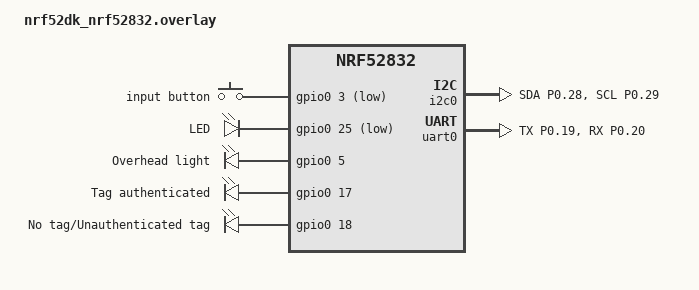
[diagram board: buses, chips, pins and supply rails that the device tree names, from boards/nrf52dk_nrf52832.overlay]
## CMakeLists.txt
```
# SPDX-License-Identifier: Apache-2.0

cmake_minimum_required(VERSION 3.20.0)
find_package(Zephyr REQUIRED HINTS $ENV{ZEPHYR_BASE})
project(ble_access_control)

FILE(GLOB app_sources 
  src/*.c
)

target_sources(app PRIVATE
  ${app_sources}
)
```

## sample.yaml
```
sample:
  name: BLE authentication System
tests:
```

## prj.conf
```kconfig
# Bluetooth
CONFIG_BT=y
CONFIG_BT_CENTRAL=y
CONFIG_BT_GATT_CLIENT=y

# RTOS events
CONFIG_EVENTS=y

#I2C
CONFIG_I2C=y

# power management
CONFIG_PM=y
CONFIG_PM_DEVICE=y

# encryption
CONFIG_MBEDTLS=y
CONFIG_ENTROPY_DEVICE_RANDOM_GENERATOR=y

# NVS
CONFIG_FLASH=y
CONFIG_FLASH_PAGE_LAYOUT=y
CONFIG_MPU_ALLOW_FLASH_WRITE=y
CONFIG_NVS=y

CONFIG_SERIAL=y
CONFIG_UART_INTERRUPT_DRIVEN=y
CONFIG_JSON_LIBRARY=y

#debug logs
CONFIG_LOG=y
CONFIG_LOG_DEFAULT_LEVEL=4
CONFIG_LOG_PRINTK=y
CONFIG_LOG_BACKEND_UART=n
```

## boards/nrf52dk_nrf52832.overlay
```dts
&pinctrl {
    i2c0_custom: i2c0_custom{
        group1{
            psels = <NRF_PSEL(TWIM_SDA, 0, 28)>,
                <NRF_PSEL(TWIM_SCL, 0, 29)>;
        };
    };

    i2c0_custom_low_power: i2c0_custom_low_power{
        group1{
            psels = <NRF_PSEL(TWIM_SDA, 0, 28)>,
                <NRF_PSEL(TWIM_SCL, 0, 29)>;
            low-power-enable;
        };
    };

    uart0_custom: uart0_custom{
        group1{
            psels = < NRF_PSEL(UART_TX, 0, 19) >,
                <NRF_PSEL(UART_RX, 0, 20)>;
        };
    };

    uart0_custom_low_power: uart0_custom_low_power{
        group1{
            psels = < NRF_PSEL(UART_TX, 0, 19) >,
                <NRF_PSEL(UART_RX, 0, 20)>;
            low-power-enable;
        };
    };
};


&i2c0 {
    status="okay";
    pinctrl-0 = < &i2c0_custom >;
    pinctrl-1 = < &i2c0_custom_low_power >;
    // TODO add MCP3021 driver
};

&uart0 {
    status = "okay";
    pinctrl-0 = < &uart0_custom >;
    pinctrl-1 = < &uart0_custom_low_power >;
};

&spi2 {
    // Disable to remove pin conflict with led
    status = "disabled";
};

&uicr {
    
};


/{
    buttons{
        status = "okay";
        compatible = "gpio-keys";

        button_input:button_input {
            gpios = < &gpio0 3 (GPIO_ACTIVE_LOW | GPIO_OPEN_DRAIN)>;
            label = "input button";
        };
    };

    outputs{
        status = "okay";
        compatible = "gpio-leds";

        led:led{
            gpios = < &gpio0 25 GPIO_ACTIVE_LOW >;
            label = "LED";
        };
        out1:out1{
            gpios = < &gpio0 5 GPIO_ACTIVE_HIGH>;
            label = "Overhead light";
        };
        out2:out2{
            gpios = < &gpio0 17 GPIO_ACTIVE_HIGH >;
            label = "Tag authenticated";
        };
        out3:out3{
            gpios = < &gpio0 18 GPIO_ACTIVE_HIGH >;
            label = "No tag/Unauthenticated tag";
        };
    };
};
```

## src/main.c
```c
#include <zephyr/kernel.h>
#include <zephyr/logging/log.h>

#include "main.h"

LOG_MODULE_REGISTER(MAIN, 3);

K_EVENT_DEFINE(main_evts);

extern struct k_msgq ble_msgq;
extern struct k_msgq output_msgq;

uint32_t timeout_for_scans_seconds = 15;

static void update_authentication_state(int state)
{
	struct ble_msg msg = {
		.type = state
	};

	k_msgq_put(&ble_msgq, &msg, K_NO_WAIT);
}

static void toggle_output(int type, int state)
{
	struct output_msg out_msg = {
		.type = type,
		.state = state
	};

	k_msgq_put(&output_msgq, &out_msg, K_NO_WAIT);
}

static void wait_authentication()
{
	uint32_t evts = 0;

	evts = k_event_wait(&main_evts, MAIN_EVT_BLE_DEVICE_CONNECTED, true, K_SECONDS(timeout_for_scans_seconds));
	if(!evts){
		LOG_WRN("Connect device timeout");
		toggle_output(OUTPUT_MSG_TYPE_TOGGLE_LED, LED_STATE_OFF);
		toggle_output(OUTPUT_MSG_TOGGLE_TAG_AUTHENTICATION_FAIL, LIGHT_STATE_ON);
		update_authentication_state(BLE_MSG_TYPE_STOP_AUTHENTICATION);
	}
	else{
		update_authentication_state(BLE_MSG_TYPE_START_AUTHENTICATION);
		evts = k_event_wait(&main_evts, MAIN_EVT_BLE_DEVICE_AUTHENTICATED | MAIN_EVT_BLE_DEVICE_AUTHENTICATION_FAIL, true, K_SECONDS(15));
		if(!evts){
			LOG_WRN("Authentication timeout");
			toggle_output(OUTPUT_MSG_TOGGLE_TAG_AUTHENTICATION_FAIL, LIGHT_STATE_ON);
		}
		else if(evts & MAIN_EVT_BLE_DEVICE_AUTHENTICATED){
			toggle_output(OUTPUT_MSG_TYPE_TOGGLE_TAG_AUTHENTICATED, LIGHT_STATE_ON);
		}
		else if(evts & MAIN_EVT_BLE_DEVICE_AUTHENTICATION_FAIL){
			toggle_output(OUTPUT_MSG_TOGGLE_TAG_AUTHENTICATION_FAIL, LIGHT_STATE_ON);
		}

		update_authentication_state(BLE_MSG_TYPE_STOP_AUTHENTICATION);
	}
	
	evts = k_event_wait(&main_evts, MAIN_EVT_BTN_RELEASED, false, K_SECONDS(timeout_for_scans_seconds));
	// all lights off
	toggle_output(OUTPUT_MSG_TYPE_TOGGLE_LED, LED_STATE_OFF);
	toggle_output(OUTPUT_MSG_TYPE_TOGGLE_OVERHEAD_LIGHT, LIGHT_STATE_OFF);
	toggle_output(OUTPUT_MSG_TYPE_TOGGLE_TAG_AUTHENTICATED, LIGHT_STATE_OFF);
	toggle_output(OUTPUT_MSG_TOGGLE_TAG_AUTHENTICATION_FAIL, LIGHT_STATE_OFF);

	update_authentication_state(BLE_MSG_START_SCAN);
}

void main()
{
	LOG_DBG("Start main thread");

	if(init_nvs()){
		return;
	}

	read_uicr(TS_UICR_ADDRESS, &timeout_for_scans_seconds);
	if(timeout_for_scans_seconds >= 0xffff){
		LOG_WRN("Scan timeout value not valid, defaulting to 15 seconds");
		timeout_for_scans_seconds = 15;
	}

	if(input_init()){
		return;
	}

	uint32_t evts = 0;
	
	while(1){
		evts = k_event_wait(&main_evts, MAIN_EVT_BLE_DEVICE_FOUND | MAIN_EVT_BTN_PRESSED, true, K_SECONDS(DEFAULT_OVERHEAD_LIGHT_TIMEOUT_NO_SCAN));
		if(!evts){
			LOG_DBG("no scan data");
			toggle_output(OUTPUT_MSG_TYPE_TOGGLE_OVERHEAD_LIGHT, LIGHT_STATE_OFF);
		}
		else if(evts & MAIN_EVT_BLE_DEVICE_FOUND){
			LOG_DBG("Device found");
			toggle_output(OUTPUT_MSG_TYPE_TOGGLE_OVERHEAD_LIGHT, LIGHT_STATE_ON);
		}
		else if(evts & MAIN_EVT_BTN_PRESSED){
			LOG_DBG("BTN pressed, start authentication");

			toggle_output(OUTPUT_MSG_TYPE_TOGGLE_LED, LED_STATE_ON);
			toggle_output(OUTPUT_MSG_TYPE_TOGGLE_OVERHEAD_LIGHT, LIGHT_STATE_OFF);
			update_authentication_state(BLE_MSG_TYPE_ENABLE_AUTHENTICATION);
			wait_authentication();
		}
	}
}
```

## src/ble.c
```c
/* main.c - Application main entry point */

/*
 * Copyright (c) 2015-2016 Intel Corporation
 *
 * SPDX-License-Identifier: Apache-2.0
 */

#include "ble.h"

#include <zephyr/bluetooth/bluetooth.h>
#include <zephyr/bluetooth/conn.h>
#include <zephyr/bluetooth/uuid.h>
#include <zephyr/bluetooth/gatt.h>

LOG_MODULE_REGISTER(BLE);

#define AUTH_EVT_PRIMARY_DISCOVERED			0x01
#define AUTH_EVT_WRITE_CHRC_DISCOVERED		0x02
#define AUTH_EVT_READ_DISCOVERED			0x04
#define AUTH_EVT_READ_CCC_DISCOVERED		0x08
#define AUTH_EVT_NOTIFICATIONS_ENABLED		0x10
#define AUTH_EVT_ATTR_DISCOVER_FAIL			0x20
#define	AUTH_EVT_DATA_WRITTEN				0x40
#define AUTH_EVT_RESP_RECEIVED				0x80

#define MAIN_SERVICE_UUID 					BT_UUID_DECLARE_16(0xfea0)
#define WRITE_CHRC_UUID						BT_UUID_DECLARE_16(0xfea1)
#define READ_CHRC_UUID						BT_UUID_DECLARE_16(0xfea2)

// Default addresses if address if none saved to device
bt_addr_le_t default_address_buf[] = {
	{
	.type = BT_ADDR_LE_RANDOM,
	.a.val={0x29, 0x74, 0x06, 0x02, 0x34, 0xdd}
	},
	{
	.type = BT_ADDR_LE_RANDOM,
	.a.val={0x8a, 0x72, 0x06, 0x02, 0x34, 0xdd}
	},
	{
	.type = BT_ADDR_LE_RANDOM,
	.a.val={0x85, 0x6e, 0x06, 0x02, 0x34, 0xdd}
	},	
};

// address buffer structure
struct addr_filter_buf{
	bt_addr_le_t buf[DEFAULT_ADDR_FILTER_LEN];
	int head;
	int size;
};

struct remote_device_attr_info{
	uint16_t write_chrc_value_handle;
	uint16_t read_chrc_attr_handle;
	uint16_t read_ccc_handle;
	uint16_t read_chrc_value_handle;
};

static void start_scan();
static void stop_scan();

static int discover_attributes();
static uint8_t attribute_discovered(struct bt_conn *conn, const struct bt_gatt_attr *attr, struct bt_gatt_discover_params *params);
static uint8_t read_chrc_cb(struct bt_conn *conn, uint8_t err, struct bt_gatt_read_params *params, const void *data, uint16_t length);
static void write_chrc_cb(struct bt_conn *conn, uint8_t err, struct bt_gatt_write_params *params);
static uint8_t notify_cb(struct bt_conn *conn, struct bt_gatt_subscribe_params *params, const void *data, uint16_t length);
static void subscribe_cb(struct bt_conn *conn, uint8_t err, struct bt_gatt_subscribe_params *params);

K_MSGQ_DEFINE(ble_msgq, sizeof(struct ble_msg), 5, 4);
K_EVENT_DEFINE(auth_evts);

extern struct k_event main_evts;
extern uint8_t device_password[8];

struct bt_conn *default_conn;
bt_addr_le_t *last_scanned_address = NULL;
struct addr_filter_buf addr_filter;
struct remote_device_attr_info attr_info = {0, 0, 0}; 
bool authentication_enabled = false;
// Transmit buffer
uint8_t tx_buf[6];
// Receive buffer
uint8_t rx_buf[22];

static struct bt_gatt_discover_params d_params = {
	.start_handle = BT_ATT_FIRST_ATTRIBUTE_HANDLE,
	.end_handle = BT_ATT_LAST_ATTRIBUTE_HANDLE,
	.func = attribute_discovered,
	.type = BT_GATT_DISCOVER_PRIMARY,
};

static struct bt_gatt_read_params read_params = {
	.func = read_chrc_cb,
};

static struct bt_gatt_write_params write_params = {
	.func = write_chrc_cb,
	.data = tx_buf,
	.length = sizeof(tx_buf)
};

static struct bt_gatt_subscribe_params sub_params = {
	.subscribe = subscribe_cb,
	.notify = notify_cb
};


static int address_in_filter(const bt_addr_le_t *addr)
{
	for(int i=0; i<addr_filter.size; ++i){
		if(bt_addr_le_cmp(addr, &addr_filter.buf[i]) == 0){
			return i;
		}
	}

	return -1;
}

// Scanned device found callback
static void device_found(const bt_addr_le_t *addr, int8_t rssi, uint8_t type,
			 struct net_buf_simple *ad)
{
    int res = 0;
	char addr_str[BT_ADDR_LE_STR_LEN];
	bt_addr_le_to_str(addr, addr_str, sizeof(addr_str));

    // check if address is in authorised filter
    res = address_in_filter(addr);
    if(res < 0){
        return;
    }

	if(bt_addr_le_cmp(addr, last_scanned_address) != 0){
		LOG_DBG("Device found: %s", addr_str);
	}

	last_scanned_address = &addr_filter.buf[res];

	if(authentication_enabled){
		stop_scan();

		res = bt_conn_le_create(addr, BT_CONN_LE_CREATE_CONN, BT_LE_CONN_PARAM_DEFAULT, &default_conn);
		if(res){
			LOG_ERR("Create connection fail (err %d)", res);
			start_scan();
		}
		return;
	}

	k_event_set(&main_evts, MAIN_EVT_BLE_DEVICE_FOUND);
}

static void start_scan(void)
{
	int err;
	struct bt_le_scan_param scan_params = {
		.interval = 1250,
		.timeout = 0,
		.window = 625,
		.type = BT_LE_SCAN_TYPE_PASSIVE,
	};
	err = bt_le_scan_start(&scan_params, device_found);
	if (err) {
		LOG_ERR("Scanning failed to start (err %d)\n", err);
		return;
	}

	LOG_INF("Scanning started");
}

static void stop_scan()
{
	int err = 0;
	err = bt_le_scan_stop();
	if(err){
		LOG_ERR("Scan stop fail (err %d)", err);
		return;
	}

	LOG_DBG("Scanning stopped");
}

static void connected(struct bt_conn *conn, uint8_t err)
{
	if(err){
		LOG_ERR("BLE connect fail (err %d)", err);
		return;
	}

	LOG_INF("Remote device connected");

	k_event_set(&main_evts, MAIN_EVT_BLE_DEVICE_CONNECTED);

	d_params.type = BT_GATT_DISCOVER_PRIMARY;
	d_params.uuid = MAIN_SERVICE_UUID;
	int res = bt_gatt_discover(conn, &d_params);
	if(res){
		LOG_ERR("Discover primary service fail(err %d)", res);
		k_event_set(&auth_evts, AUTH_EVT_ATTR_DISCOVER_FAIL);
	}
}

static void disconnected(struct bt_conn *conn, uint8_t reason)
{
	LOG_INF("BLE disconnected (reason %d)", reason);
	bt_conn_unref(conn);
	default_conn = NULL;
}

static uint8_t attribute_discovered(struct bt_conn *conn, const struct bt_gatt_attr *attr, struct bt_gatt_discover_params *params)
{
	if(params->type == BT_GATT_DISCOVER_PRIMARY){
		LOG_DBG("Primary service discovered");
		k_event_set(&auth_evts, AUTH_EVT_PRIMARY_DISCOVERED);
	}
	else if(params->type == BT_GATT_DISCOVER_CHARACTERISTIC){
		if(bt_uuid_cmp(params->uuid, WRITE_CHRC_UUID) == 0){
			LOG_DBG("Write chrc discovered");
			struct bt_gatt_chrc *w_chrc = (struct bt_gatt_chrc *)attr->user_data;
			attr_info.write_chrc_value_handle = w_chrc->value_handle;
			k_event_set(&auth_evts, AUTH_EVT_WRITE_CHRC_DISCOVERED);
		}
		else if(bt_uuid_cmp(params->uuid, READ_CHRC_UUID) == 0){
			LOG_DBG("read chrc discovered");
			struct bt_gatt_chrc *r_chrc = (struct bt_gatt_chrc *)attr->user_data;
			attr_info.read_chrc_value_handle = r_chrc->value_handle;
			attr_info.read_chrc_attr_handle = bt_gatt_attr_get_handle(attr);
			k_event_set(&auth_evts, AUTH_EVT_READ_DISCOVERED);
		}
	}
	else if(params->type == BT_GATT_DISCOVER_DESCRIPTOR){
		if(bt_uuid_cmp(params->uuid, BT_UUID_GATT_CCC) == 0){
			attr_info.read_ccc_handle = bt_gatt_attr_get_handle(attr);
			k_event_set(&auth_evts, AUTH_EVT_READ_CCC_DISCOVERED);
		}
	}

	return BT_GATT_ITER_STOP;
}

static uint8_t read_chrc_cb(struct bt_conn *conn, uint8_t err, struct bt_gatt_read_params *params, const void *data, uint16_t length)
{
	if(err){
		LOG_ERR("Read resp fail(err %d)", err);
		return BT_GATT_ITER_STOP;
	}

	memcpy(rx_buf, data, length);
	k_event_set(&auth_evts, AUTH_EVT_RESP_RECEIVED);
	return BT_GATT_ITER_STOP;
}

static void write_chrc_cb(struct bt_conn *conn, uint8_t err, struct bt_gatt_write_params *params)
{
	if(err){
		LOG_ERR("Write data fail(err %d)", err);
		return;
	}

	k_event_set(&auth_evts, AUTH_EVT_DATA_WRITTEN);
}

static uint8_t notify_cb(struct bt_conn *conn, struct bt_gatt_subscribe_params *params, const void *data, uint16_t length)
{
	if(data == NULL){
		LOG_WRN("Notifications disabled");
		return BT_GATT_ITER_STOP;
	}

	memcpy(rx_buf, data, length);
	k_event_set(&auth_evts, AUTH_EVT_RESP_RECEIVED);

	return BT_GATT_ITER_CONTINUE;
}

static void subscribe_cb(struct bt_conn *conn, uint8_t err, struct bt_gatt_subscribe_params *params)
{
	if(err){
		LOG_ERR("Notifications enable fail(err %d)", err);
		return;
	}

	if(params->value == BT_GATT_CCC_NOTIFY){
		LOG_DBG("Notifications enabled");
		k_event_set(&auth_evts, AUTH_EVT_NOTIFICATIONS_ENABLED);
	}
}


static int discover_attributes()
{
	int ret = 0;
	uint32_t evts = 0;
	evts = k_event_wait(&auth_evts, AUTH_EVT_PRIMARY_DISCOVERED, false, K_MSEC(5000));
	if(!evts){
		LOG_ERR("Discover primary timeout");
		return -ETIMEDOUT;
	}

	d_params.type = BT_GATT_DISCOVER_CHARACTERISTIC;
	d_params.uuid = WRITE_CHRC_UUID;
	ret = bt_gatt_discover(default_conn, &d_params);
	if(ret){
		LOG_ERR("Discover write fail(err %d)", ret);
		return ret;
	}

	evts = k_event_wait(&auth_evts, AUTH_EVT_WRITE_CHRC_DISCOVERED, true, K_MSEC(5000));
	if(!evts){
		LOG_ERR("Discover write chrc timeout");
		return -ETIMEDOUT;
	}

	d_params.type = BT_GATT_DISCOVER_CHARACTERISTIC;
	d_params.uuid = READ_CHRC_UUID;
	ret = bt_gatt_discover(default_conn, &d_params);
	if(ret){
		LOG_ERR("Discover read fail(err %d)", ret);
		return ret;
	}

	evts = k_event_wait(&auth_evts, AUTH_EVT_READ_DISCOVERED, true, K_MSEC(5000));
	if(!evts){
		LOG_ERR("Discover read chrc timeout");
		return -ETIMEDOUT;
	}

	d_params.type = BT_GATT_DISCOVER_DESCRIPTOR;
	d_params.uuid = BT_UUID_GATT_CCC;
	d_params.start_handle = attr_info.read_chrc_attr_handle;
	ret = bt_gatt_discover(default_conn, &d_params);
	if(ret){
		LOG_ERR("Discover read CCC fail(err %d)", ret);
		return ret;
	}

	evts = k_event_wait(&auth_evts, AUTH_EVT_READ_CCC_DISCOVERED, true, K_MSEC(5000));
	if(!evts){
		LOG_ERR("Discover read CCC timeout");
		return -ETIMEDOUT;
	}

	sub_params.ccc_handle = attr_info.read_ccc_handle;
	sub_params.value_handle = attr_info.read_chrc_value_handle;
	sub_params.value = BT_GATT_CHRC_NOTIFY;
	ret = bt_gatt_subscribe(default_conn, &sub_params);
	if(ret){
		LOG_ERR("Enable notifications fail (err %d)", ret);
		return ret;
	}

	evts = k_event_wait(&auth_evts, AUTH_EVT_NOTIFICATIONS_ENABLED, true, K_MSEC(5000));
	if(!evts){
		LOG_ERR("Enable notifications timeout");
		return -ETIMEDOUT;
	}

	return 0;
}

static int write_auth_data(uint8_t *random_vars)
{
	int ret = 0;

	tx_buf[0] = 0x13;
	tx_buf[1] = 0x01;
	memcpy(&tx_buf[2], random_vars, 4);

	write_params.data = tx_buf;
	write_params.length = sizeof(tx_buf);
	write_params.handle = attr_info.write_chrc_value_handle;
	ret = bt_gatt_write(default_conn, &write_params);
	if(ret){
		LOG_ERR("GATT write fail (err %d)", ret);
		return ret;
	}

	uint32_t evt = k_event_wait(&auth_evts, AUTH_EVT_DATA_WRITTEN, true, K_SECONDS(5));
	if(!evt){
		LOG_ERR("Gatt write timeout");
		return -ETIMEDOUT;
	}

	return 0;
}

static int wait_auth_resp()
{
	uint32_t evt = k_event_wait(&auth_evts, AUTH_EVT_RESP_RECEIVED, true, K_SECONDS(5));
	if(!evt){
		LOG_WRN("Wait resp timeout, attempting read");

		// No notification received, read data
		read_params.single.handle = attr_info.read_chrc_value_handle;
		read_params.single.offset = 0;
		int ret = bt_gatt_read(default_conn, &read_params);
		if(ret){
			LOG_ERR("GATT read fail (err %d)", ret);
			return ret;
		}

		evt = k_event_wait(&auth_evts, AUTH_EVT_RESP_RECEIVED, true, K_SECONDS(5));
		if(!evt){
			LOG_ERR("Read resp timeout");
			return -ETIMEDOUT;
		}
	}

	if(rx_buf[0] != 0x13 || rx_buf[1] != 0x01){
		LOG_ERR("Invalid resp");
		return -EINVAL;
	}
	
	return 0;
}

static int check_resp_data(uint8_t *random, const bt_addr_le_t *addr)
{
	uint8_t raw_data[] = {
		addr->a.val[0],
		addr->a.val[1],
		addr->a.val[2],
		addr->a.val[3],
		addr->a.val[4],
		addr->a.val[5],
		0xa9,
		0xb1,
		random[0],
		random[1],
		random[2],
		random[3],
		device_password[0],
		device_password[1],
		device_password[2],
		device_password[3],
		device_password[4],
		device_password[5],
		device_password[6],
		device_password[7]
	};

	uint8_t md5_checksum_generated[16];
	uint8_t md5_checksum_received[16];

	LOG_DBG("Received checksum");
	for(int i=0; i<sizeof(md5_checksum_received); ++i){
		md5_checksum_received[i] = rx_buf[i];
		printk("%02x", md5_checksum_received[i]);
	}
	LOG_DBG("\n");
	
	int ret = 0;
	ret = generate_md5_checksum(raw_data, sizeof(raw_data), md5_checksum_generated);
	if(ret){
		LOG_ERR("Generate md5 fail(err %d)", ret);
		return ret;
	}

	LOG_DBG("Generated checksum");
	for(int i=0; i<sizeof(md5_checksum_generated); ++i){
		printk("%02x", md5_checksum_generated[i]);
		k_sleep(K_MSEC(100));
	}
	LOG_DBG("\n");

	if(memcmp(md5_checksum_generated, md5_checksum_received, sizeof(md5_checksum_generated)) != 0){
		LOG_ERR("Checksum not match");
		return -EINVAL;
	}

	return 0;
}

static void authenticate_remote_device()
{
	if(discover_attributes()){
		k_event_set(&main_evts, MAIN_EVT_BLE_DEVICE_AUTHENTICATION_FAIL);
		return;
	}
	
	uint8_t random_data[4];
	int res = 0;
	res = generate_random_numbers(sizeof(random_data), random_data);
	if(res){
		LOG_WRN("RNG fail, using default chars");
		memset(random_data, 0xff, sizeof(random_data));
	}

	res = write_auth_data(random_data);
	if(res){
		k_event_set(&main_evts, MAIN_EVT_BLE_DEVICE_AUTHENTICATION_FAIL);
		return;
	}

	res = wait_auth_resp();
	if(res){
		k_event_set(&main_evts, MAIN_EVT_BLE_DEVICE_AUTHENTICATION_FAIL);
		return;
	}

	res = check_resp_data(random_data, bt_conn_get_dst(default_conn));
	if(res){
		LOG_ERR("Authentication fail");
		k_event_set(&main_evts, MAIN_EVT_BLE_DEVICE_AUTHENTICATION_FAIL);
		return;
	}

	k_event_set(&main_evts, MAIN_EVT_BLE_DEVICE_AUTHENTICATED);
}

BT_CONN_CB_DEFINE(conn_callbacks) = {
	.connected = connected,
	.disconnected = disconnected,
};

static int init_addr_filter()
{
	int ret = 0;
	bool success = true;
	for(int i=0; i<DEFAULT_ADDR_FILTER_LEN; ++i){
		bt_addr_le_t temp_addr = {
			.type = BT_ADDR_LE_RANDOM,
		};

		ret = read_nvs_data(i, temp_addr.a.val, sizeof(temp_addr.a.val));
		if(ret){
			if(i != 0){
				// At least one address found
				break;
			}
			LOG_WRN("Init address filter fail(err %d), using test addresses", ret);
			success = false;
			break;
		}

		ble_add_addr_to_filter(&temp_addr);
	}

	if(!success){
		memset(&addr_filter, 0, sizeof(addr_filter));
		ble_add_addr_to_filter(&default_address_buf[0]);
		ble_add_addr_to_filter(&default_address_buf[1]);
		ble_add_addr_to_filter(&default_address_buf[2]);
	}

	return 0;
}

void ble_thread_main(void)
{
	LOG_DBG("Start ble thread");
	int res = 0;

	res = init_addr_filter();
	if(res){
		return;
	}

	if(init_mbedtls_encryption()){
		return;
	}

	LOG_DBG("Enable BLE");
	res = bt_enable(NULL);
	if(res){
		LOG_ERR("BLE enable fail (err %d)", res);
		return;
	}

	LOG_DBG("Start scan");
	start_scan();

	struct ble_msg msg;
	while(1){
		k_msgq_get(&ble_msgq, &msg, K_FOREVER);
		if(msg.type == BLE_MSG_TYPE_ENABLE_AUTHENTICATION){
			LOG_INF("Enable authentication");
			authentication_enabled = true;
		}
		else if(msg.type == BLE_MSG_TYPE_START_AUTHENTICATION){
			LOG_INF("Authenticate remote device");
			authenticate_remote_device();
		}
		else if(msg.type == BLE_MSG_TYPE_STOP_AUTHENTICATION){
			LOG_INF("Stop athentication");
			if(default_conn != NULL){
				int res = bt_conn_disconnect(default_conn, BT_HCI_ERR_REMOTE_USER_TERM_CONN);
				if(res){
					LOG_ERR("BLE disconnect device error %d", res);
				}
			}
			authentication_enabled = false;
			last_scanned_address = NULL;
		}
		else if(msg.type == BLE_MSG_START_SCAN){
			// stop any previous scans
			stop_scan();

			start_scan();
		}
	}
}

int ble_add_addr_to_filter(bt_addr_le_t *addr)
{
	if(addr_filter.head >= DEFAULT_ADDR_FILTER_LEN){
		addr_filter.head = 0;
	}

	bt_addr_le_copy(&addr_filter.buf[addr_filter.head], addr);
	addr_filter.head++;
	addr_filter.size++;

	if(addr_filter.size >= DEFAULT_ADDR_FILTER_LEN){
		addr_filter.size = DEFAULT_ADDR_FILTER_LEN;
	}

	char addr_str[BT_ADDR_LE_STR_LEN];
	bt_addr_le_to_str(addr, addr_str, sizeof(addr_str));
	LOG_DBG("Add address to filter %s", addr_str);

	return 0;
}

// create and start BLE thread
K_THREAD_DEFINE(ble_thread, 1024, ble_thread_main, NULL, NULL, NULL, 1, K_ESSENTIAL, 0);
```

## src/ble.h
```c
#ifndef BLE_H
#define BLE_H

#include "main.h"
#include <zephyr/bluetooth/addr.h>

enum ble_message_types{
    BLE_MSG_TYPE_ENABLE_AUTHENTICATION,
    BLE_MSG_TYPE_START_AUTHENTICATION,
    BLE_MSG_TYPE_STOP_AUTHENTICATION,
    BLE_MSG_START_SCAN,
};

struct ble_msg{
    int type;
};

/**
 * @brief BLE thread entry function
 * 
 */
void ble_thread_main();

/**
 * @brief Add address to address filter
 * 
 * @param addr address to add
 * @return 0 on success
 */
int ble_add_addr_to_filter(bt_addr_le_t *addr);

#endif
```

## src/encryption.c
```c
#include "encryption.h"

#include <mbedtls/md5.h>
#include <mbedtls/ctr_drbg.h>
#include <zephyr/random/rand32.h>

LOG_MODULE_REGISTER(ENCRYPTION);

uint8_t device_password[] = {0x36, 0x39, 0x37, 0x32, 0x34, 0x35, 0x33, 0x39};

mbedtls_ctr_drbg_context ctr_drbg;

int init_mbedtls_encryption()
{
    mbedtls_ctr_drbg_init(&ctr_drbg);
    return 0;
}

int generate_random_numbers(uint8_t len, uint8_t *buf)
{
    sys_rand_get(buf, len);
    return 0;
}

int generate_md5_checksum(uint8_t *input, uint8_t input_len, uint8_t *output_buf)
{
    int ret = 0;

    ret = mbedtls_md5(input, input_len, output_buf);
    if(ret){
        LOG_ERR("Generate MD5 fail (err %d)", ret);
        return ret;
    }

    return 0;
}
```

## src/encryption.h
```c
#ifndef ENCRYPTION_H
#define ENCRYPTION_H

#include "main.h"

/**
 * @brief initialise the mbedtls module
 * 
 */
int init_mbedtls_encryption();

/**
 * @brief generate random numbers (uint8_t) of lenth len)
 * 
 * @param len number of random numbers to generate
 * @param output_buf buffer to store generated numbers
 */
int generate_random_numbers(uint8_t len, uint8_t *output_buf);

/**
 * @brief generate md5 checksum for data
 * 
 * @param input input data
 * @param input_len size of input data
 * @param output_buf output buf = md5(input data)
 * 
 * @return 0 on success
 */
int generate_md5_checksum(uint8_t *input, uint8_t input_len, uint8_t *output_buf);

#endif
```

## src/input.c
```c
#include "input.h"

#include <zephyr/drivers/gpio.h>
#include <zephyr/logging/log.h>

LOG_MODULE_REGISTER(INPUT);

#define INPUT_BTN_NODE DT_NODELABEL(button_input)

extern struct k_event main_evts;

struct gpio_dt_spec input_btn_spec = GPIO_DT_SPEC_GET(INPUT_BTN_NODE, gpios); 
struct gpio_callback input_btn_callback;

static void input_btn_pressed_callback(const struct device *dev, struct gpio_callback *cb, gpio_port_pins_t pins)
{
    if(gpio_pin_get_dt(&input_btn_spec)){
        LOG_DBG("BTN pressed");
        k_event_set(&main_evts, MAIN_EVT_BTN_PRESSED);
    }
    else{
        k_event_set(&main_evts, MAIN_EVT_BTN_RELEASED);
        LOG_DBG("BTN released");
    }
}

int input_init()
{
    int ret = 0;
    if(!device_is_ready(input_btn_spec.port)){
        LOG_ERR("Button input not ready");
        return -ENODEV;
    }

    gpio_init_callback(&input_btn_callback, input_btn_pressed_callback, BIT(input_btn_spec.pin));
    ret = gpio_pin_interrupt_configure_dt(&input_btn_spec, GPIO_INT_EDGE_BOTH);
    if(ret){
        LOG_ERR("Input btn interrupt config fail (err %d)", ret);
        return ret;
    }

    ret = gpio_add_callback(input_btn_spec.port, &input_btn_callback);
    if(ret){
        LOG_ERR("Input btn add interrupt callback fail (err %d)", ret);
        return ret;
    }

    ret = gpio_pin_configure_dt(&input_btn_spec, GPIO_INPUT);
    if(ret){
        LOG_ERR("Input btn config fail (err %d)", ret);
        return ret;
    }

    ret = gpio_pin_set_dt(&input_btn_spec, 0);
    if(ret){
        LOG_ERR("input button init fail (err %d)", ret);
        return ret;
    }

    LOG_INF("Inputs initialised");
    return 0;
}
```

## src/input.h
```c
#ifndef INPUT_H
#define INPUT_H

#include "main.h"

int input_init();

#endif
```

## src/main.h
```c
#ifndef MAIN_H
#define MAIN_H

#include <zephyr/kernel.h>
#include <zephyr/logging/log.h>
#include <string.h>

#include "main_evt_defs.h"
#include "input.h"
#include "output.h"
#include "storage.h"
#include "ble.h"
#include "encryption.h"

#define DEFAULT_ADDR_FILTER_LEN                 25
#define DEFAULT_OVERHEAD_LIGHT_TIMEOUT_NO_SCAN  (5 * 60)

#endif
```

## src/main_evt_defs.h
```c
#ifndef MAIN_EVT_DEFS_H
#define MAIN_EVT_DEFS_H

#define MAIN_EVT_BTN_PRESSED                        0x01
#define MAIN_EVT_BTN_RELEASED                       0x02
#define MAIN_EVT_BLE_DEVICE_FOUND                   0x04
#define MAIN_EVT_BLE_DEVICE_CONNECTED               0x08
#define MAIN_EVT_BLE_DEVICE_AUTHENTICATED           0x10
#define MAIN_EVT_BLE_DEVICE_AUTHENTICATION_FAIL     0x20

#endif
```

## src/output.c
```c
#include "output.h"

#include <zephyr/drivers/gpio.h>
#include <zephyr/logging/log.h>

LOG_MODULE_REGISTER(OUTPUT);

#define LED_LIGHT_NODE                              DT_NODELABEL(led)
#define OVERHEAD_LIGHT_NODE                         DT_NODELABEL(out1)
#define AUTHENTICATED_LIGHT_NODE                    DT_NODELABEL(out2)
#define AUTHENTICATION_FAIL_LIGHT_NODE              DT_NODELABEL(out3)

struct output_light{
    struct gpio_dt_spec gpio_spec;
    int current_state;
};

static void overhead_light_timer_exp_cb(struct k_timer *timer);
uint32_t overhead_light_timeout_period_minutes;

K_MSGQ_DEFINE(output_msgq, sizeof(struct output_msg), 5, 4);
K_TIMER_DEFINE(overhead_light_timer, overhead_light_timer_exp_cb, NULL);

struct output_light overhead_light = {
    .current_state = 0,
    .gpio_spec = GPIO_DT_SPEC_GET(OVERHEAD_LIGHT_NODE, gpios)  
};

struct output_light authenticated_light = {
    .current_state = 0,
    .gpio_spec = GPIO_DT_SPEC_GET(AUTHENTICATED_LIGHT_NODE, gpios)  
};

struct output_light authentication_fail_light = {
    .current_state = 0,
    .gpio_spec = GPIO_DT_SPEC_GET(AUTHENTICATION_FAIL_LIGHT_NODE, gpios)  
};

struct output_light led_light = {
    .current_state = 0,
    .gpio_spec = GPIO_DT_SPEC_GET(LED_LIGHT_NODE, gpios)
};

static int init_light(struct output_light *light, int initial)
{
    int ret = 0;
    if(!device_is_ready(light->gpio_spec.port)){
        return -ENODEV;
    }

    ret = gpio_pin_configure_dt(&light->gpio_spec, GPIO_OUTPUT);
    if(ret){
        LOG_ERR("GPIO output init fail (error %d)", ret);
        return ret;
    }

    gpio_pin_set_dt(&light->gpio_spec, initial);

    return 0;
}

static void toggle_light(struct output_light *light, int state)
{
    gpio_pin_set_dt(&light->gpio_spec, state);
}

static void overhead_light_timer_exp_cb(struct k_timer *timer)
{
    toggle_light(&overhead_light, 0);
    k_timer_stop(&overhead_light_timer);
}

void output_thread_main()
{
    LOG_DBG("Start output thread");

    if(read_uicr(TL_UICR_ADDRESS, &overhead_light_timeout_period_minutes)){
        return;
    }

    if(overhead_light_timeout_period_minutes >= 0xffffffff){
        LOG_WRN("Invalid value for overhead light timeout, defaulting to 10 minutes");
        overhead_light_timeout_period_minutes = 10;
    }

    if(init_light(&led_light, LED_STATE_OFF)){
        return;
    }

    if(init_light(&overhead_light, LIGHT_STATE_OFF)){
        return;
    }

    if(init_light(&authenticated_light, LIGHT_STATE_OFF)){
        return;
    }

    if(init_light(&authentication_fail_light, LIGHT_STATE_OFF)){
        return;
    }

    struct output_msg msg;
    while(1){
        k_msgq_get(&output_msgq, &msg, K_FOREVER);
        switch(msg.type){
            case OUTPUT_MSG_TYPE_TOGGLE_OVERHEAD_LIGHT:{
                if(msg.state == 0){
                    k_timer_stop(&overhead_light_timer);
                }
                else if(msg.state == 1 && overhead_light.current_state == LIGHT_STATE_OFF){
                    // restart timer if it was off, otherwise wait for timeout
                    k_timer_start(&overhead_light_timer, K_MINUTES(overhead_light_timeout_period_minutes), K_NO_WAIT);
                }

                toggle_light(&overhead_light, msg.state);
                break;
            }
            case OUTPUT_MSG_TYPE_TOGGLE_LED:{
                toggle_light(&led_light, msg.state);
                break;
            }
            case OUTPUT_MSG_TYPE_TOGGLE_TAG_AUTHENTICATED:{
                toggle_light(&authenticated_light, msg.state);
                break;
            }
            case OUTPUT_MSG_TOGGLE_TAG_AUTHENTICATION_FAIL:{
                toggle_light(&authentication_fail_light, msg.state);
                break;
            }
            default:{
                break;
            }
        }
    }
}

K_THREAD_DEFINE(output_thread, 1024, output_thread_main, NULL, NULL, NULL, 2, K_ESSENTIAL, 0);
```

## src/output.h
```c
#ifndef OUTPUT_H
#define OUTPUT_H

#include "main.h"

#define LED_STATE_ON                    1
#define LED_STATE_OFF                   0

#define LIGHT_STATE_ON                  1
#define LIGHT_STATE_OFF                 0

enum output_msg_types{
    OUTPUT_MSG_TYPE_TOGGLE_OVERHEAD_LIGHT, 
    OUTPUT_MSG_TYPE_TOGGLE_LED, 
    OUTPUT_MSG_TYPE_TOGGLE_TAG_AUTHENTICATED, 
    OUTPUT_MSG_TOGGLE_TAG_AUTHENTICATION_FAIL
};

struct output_msg{
    int type;
    int state;
};

void output_thread_main();

#endif
```

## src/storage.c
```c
#include "storage.h"

#include <zephyr/fs/nvs.h>
#include <zephyr/drivers/flash.h>
#include <zephyr/storage/flash_map.h>
#include <zephyr/device.h>

#include <nrfx_nvmc.h>

#include <zephyr/logging/log.h>

LOG_MODULE_REGISTER(STORAGE);

#define NVS_PARTITION		    storage_partition
#define NVS_PARTITION_DEVICE	FIXED_PARTITION_DEVICE(NVS_PARTITION)
#define NVS_PARTITION_OFFSET	FIXED_PARTITION_OFFSET(NVS_PARTITION)

struct nvs_fs fs;

int init_nvs()
{
    int ret = 0;
    struct flash_pages_info info;
	fs.flash_device = NVS_PARTITION_DEVICE;
	if (!device_is_ready(fs.flash_device)){
        LOG_ERR("nvs device not ready");
		return -ENODEV;
	}

	fs.offset = NVS_PARTITION_OFFSET;
	ret = flash_get_page_info_by_offs(fs.flash_device, fs.offset, &info);
	if (ret){
		LOG_ERR("nvs failed to get page info");
		return ret;
	}

	fs.sector_size = info.size;
	fs.sector_count = 2U;

	ret = nvs_mount(&fs);
	if(ret){
		LOG_ERR("NVS mount fail(err %d)", ret);
		return ret;
	}

    return 0;
}

int read_nvs_data(uint8_t id, uint8_t *data, uint8_t len)
{
    int ret = 0;
    ret = nvs_read(&fs, id, data, len);
    if((ret != len) && (ret != 0)){
        return -EMSGSIZE;
    }
    return 0;
}

int write_nvs_data(uint8_t id, uint8_t *data, uint8_t len)
{
    int ret = 0;
    ret = nvs_write(&fs, id, data, len);
    if((ret != len) && (ret != 0)){
        return -EMSGSIZE;
    }
    return 0;
}

int read_uicr(int customer_addr, uint32_t *value)
{
    *value = nrfx_nvmc_uicr_word_read(&NRF_UICR->CUSTOMER[customer_addr]);
    return 0;
}

int update_uicr(uint32_t TL, uint32_t TS, uint32_t VC, uint32_t VW)
{
    // Erase
    NRF_NVMC->CONFIG = NVMC_CONFIG_WEN_Een;
    while(NRF_NVMC->READY == NVMC_READY_READY_Busy){;}
    NRF_NVMC->ERASEUICR = 1;
    while(NRF_NVMC->READY == NVMC_READY_READY_Busy){;}

    // Write
    NRF_NVMC->CONFIG = NVMC_CONFIG_WEN_Wen;
    while(NRF_NVMC->READY == NVMC_READY_READY_Busy){;}
    NRF_UICR->CUSTOMER[TL_UICR_ADDRESS] = TL;
    while(NRF_NVMC->READY == NVMC_READY_READY_Busy){;}
    NRF_UICR->CUSTOMER[TS_UICR_ADDRESS] = TS;
    while(NRF_NVMC->READY == NVMC_READY_READY_Busy){;}
    NRF_UICR->CUSTOMER[VC_UICR_ADDRESS] = VC;
    while(NRF_NVMC->READY == NVMC_READY_READY_Busy){;}
    NRF_UICR->CUSTOMER[VW_UICR_ADDRESS] = VW;
    while(NRF_NVMC->READY == NVMC_READY_READY_Busy){;}

    // Check
    NRF_NVMC->CONFIG = NVMC_CONFIG_WEN_Ren;
    while(NRF_NVMC->READY == NVMC_READY_READY_Busy){;}
    LOG_DBG("UICR VAL TL %u", NRF_UICR->CUSTOMER[TL_UICR_ADDRESS]);
    LOG_DBG("UICR VAL TS %u", NRF_UICR->CUSTOMER[TS_UICR_ADDRESS]);
    LOG_DBG("UICR VAL VC %u", NRF_UICR->CUSTOMER[VC_UICR_ADDRESS]);
    LOG_DBG("UICR VAL VW %u", NRF_UICR->CUSTOMER[VW_UICR_ADDRESS]);
    if(NRF_UICR->CUSTOMER[TL_UICR_ADDRESS] != TL ||
        NRF_UICR->CUSTOMER[TS_UICR_ADDRESS] != TS ||
        NRF_UICR->CUSTOMER[VC_UICR_ADDRESS] != VC ||
        NRF_UICR->CUSTOMER[VW_UICR_ADDRESS] != VW)
    {
        LOG_ERR("Write UICR check fail");
        return -ENODATA;
    }
    return 0;
}
```

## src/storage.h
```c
#ifndef STORAGE_H
#define STORAGE_H

#include "main.h"

#define TL_UICR_ADDRESS         0
#define TS_UICR_ADDRESS         1
#define VC_UICR_ADDRESS         2
#define VW_UICR_ADDRESS         3

/**
 * @brief init NVS on internal flash
 * 
 * @return 0 on success
 */
int init_nvs();

/**
 * @brief read data from flash
 * 
 * @param id NVS data id
 * @param data destination buffer
 * @param len length of buffer
 * @return 0 on success
 */
int read_nvs_data(uint8_t id, uint8_t *data, uint8_t len);

/**
 * @brief write data to NVS
 * 
 * @param id NVS data id
 * @param data data to write
 * @param len number of bytes
 * @return 0 on success
 */
int write_nvs_data(uint8_t id, uint8_t *data, uint8_t len);

/**
 * @brief read uicr value
 * 
 * @param customer_addr index of uicr customer space
 * @param value pointer to variable to read to
 * @return 0 on sucess
 */
int read_uicr(int customer_addr, uint32_t *value);

/**
 * @brief update uicr values
 * 
 * @param TL
 * @param TS
 * @param VC
 * @param VW
 * 
 * @return 0 on success
 */
int update_uicr(uint32_t TL, uint32_t TS, uint32_t VC, uint32_t VW);

#endif
```
